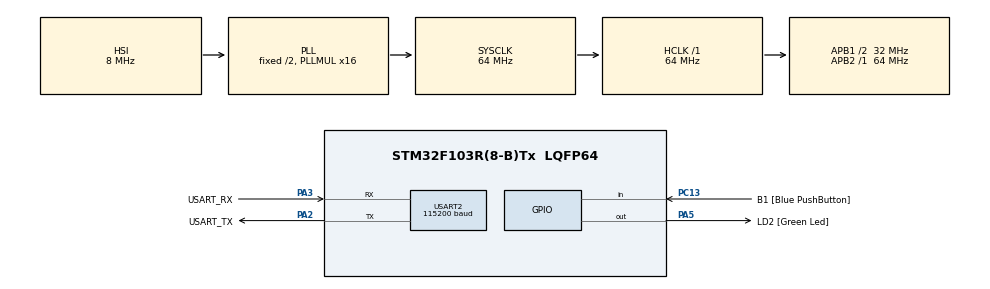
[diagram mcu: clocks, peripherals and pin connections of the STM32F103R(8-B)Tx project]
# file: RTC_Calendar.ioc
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Mcu.Family=STM32F1
Mcu.Name=STM32F103R(8-B)Tx
Mcu.Package=LQFP64
NVIC.PriorityGroup=NVIC_PRIORITYGROUP_4
NVIC.RTC_IRQn=true\:1\:0\:false\:false\:true\:true\:true\:true
PA13.GPIO_Label=TMS
PA13.Mode=Serial_Wire
PA13.Signal=SYS_JTMS-SWDIO
PA14.GPIO_Label=TCK
PA14.Mode=Serial_Wire
PA14.Signal=SYS_JTCK-SWCLK
PA2.GPIO_Label=USART_TX
PA2.GPIO_Mode=GPIO_MODE_AF_PP
PA2.GPIO_PuPd=GPIO_NOPULL
PA2.GPIO_Speed=GPIO_SPEED_FREQ_LOW
PA2.Mode=Asynchronous
PA2.Signal=USART2_TX
PA3.GPIO_Label=USART_RX
PA3.GPIO_PuPd=GPIO_NOPULL
PA3.GPIO_Speed=GPIO_SPEED_FREQ_LOW
PA3.Mode=Asynchronous
PA3.Signal=USART2_RX
PA5.GPIO_Label=LD2 [Green Led]
PA5.GPIO_ModeDefaultOutputPP=GPIO_MODE_OUTPUT_PP
PA5.GPIO_PuPd=GPIO_NOPULL
PA5.GPIO_Speed=GPIO_SPEED_FREQ_LOW
PA5.Signal=GPIO_Output
PB3.GPIO_Label=SWO
PB3.Signal=SYS_JTDO-TRACESWO
PC13-TAMPER-RTC.GPIO_Label=B1 [Blue PushButton]
PC13-TAMPER-RTC.GPIO_PuPd=GPIO_NOPULL
PC13-TAMPER-RTC.Signal=GPIO_Input
PC14-OSC32_IN.Mode=LSE-External-Oscillator
PC14-OSC32_IN.Signal=RCC_OSC32_IN
PC15-OSC32_OUT.Mode=LSE-External-Oscillator
PC15-OSC32_OUT.Signal=RCC_OSC32_OUT
PD0-OSC_IN.Mode=HSE-External-Clock-Source
PD0-OSC_IN.Signal=RCC_OSC_IN
PD1-OSC_OUT.Mode=HSE-External-Clock-Source
PD1-OSC_OUT.Signal=RCC_OSC_OUT
ProjectManager.HeapSize=0x200
ProjectManager.StackSize=0x400
ProjectManager.TargetToolchain=STM32CubeIDE
RCC.AHBFreq_Value=64000000
RCC.APB1CLKDivider=RCC_HCLK_DIV2
RCC.APB1Freq_Value=32000000
RCC.APB1TimFreq_Value=64000000
RCC.APB2Freq_Value=64000000
RCC.APB2TimFreq_Value=64000000
RCC.HCLKFreq_Value=64000000
RCC.PLLMUL=RCC_PLL_MUL16
RCC.RTCClockSelection=RCC_RTCCLKSOURCE_LSE
RCC.SYSCLKFreq_VALUE=64000000
RCC.SYSCLKSource=RCC_SYSCLKSOURCE_PLLCLK
RCC.USBFreq_Value=64000000
RTC.OutPut=RTC_OUTPUTSOURCE_NONE
USART2.BaudRate=115200
USART2.VirtualMode=VM_ASYNC
VP_RTC_VS_RTC_Activate.Mode=RTC_Enabled
board=NUCLEO-F103RB

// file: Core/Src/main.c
/* USER CODE BEGIN Header */
/**
 ******************************************************************************
 * @file           : main.c
 * @brief          : Main program body
 ******************************************************************************
 * @attention
 *
 * Copyright (c) 2026 STMicroelectronics.
 * All rights reserved.
 *
 * This software is licensed under terms that can be found in the LICENSE file
 * in the root directory of this software component.
 * If no LICENSE file comes with this software, it is provided AS-IS.
 *
 ******************************************************************************
 */
/**
 * 05_RTC_Calendar_HAL_c  —  [계층: HAL(RTC 초기화/1초 인터럽트) + 레지스터(카운터 접근)]  RTC 달력 시계
 *
 * STM32F1 RTC 의 특징
 *   F1 의 RTC 는 "달력" 하드웨어가 없다. 32비트 카운터(RTC->CNTH:CNTL)가 1초마다 1 증가할 뿐이다.
 *   -> 이 카운터를 Unix 시간(1970-01-01 00:00:00 부터 경과한 초)으로 쓰고, 날짜/시각은 소프트웨어로 계산한다.
 *   (이후 시리즈의 RTC 는 BCD 달력 하드웨어가 있지만 F1 은 없다. HAL 의 F1 달력 API 도 이 방식을 흉내 낸 것이다.)
 *
 * 동작
 *   - 전원 최초 인가 시 컴파일 시각(__DATE__ / __TIME__)으로 카운터를 설정하고 BKP DR1 에 "설정됨" 표시.
 *   - RTC 1초 인터럽트마다 카운터를 읽어 "YYYY-MM-DD HH:MM:SS (요일)" 을 UART(115200)로 출력, LD2 토글.
 *   - NRST(리셋) 버튼을 눌러도 시각이 이어진다 (백업 도메인이 유지되기 때문). 전원을 완전히 끄면 VBAT 이 없어 초기화된다.
 *   - B1(PC13) 을 누르면 컴파일 시각으로 다시 설정.
 *
 * 핵심 레지스터/비트
 *   RTC->CNTH:CNTL : 32비트 카운터.  읽기: CNTH-CNTL-CNTH 를 읽어 상위가 바뀌었으면 재시도(자리올림 경합 방지)
 *   쓰기 절차: RTC->CRL.RTOFF=1 대기 -> CRL.CNF=1(설정 모드) -> CNTH/CNTL 기록 -> CNF=0 -> RTOFF=1 대기
 *   RTC->CRH.SECIE : 1초 인터럽트 허용,  RTC->CRL.SECF : 1초 플래그
 *   PWR->CR.DBP=1 : 백업 도메인 쓰기 허용 (RTC/BKP 레지스터 접근에 필요)
 *   RCC->BDCR : LSEON/LSERDY, RTCSEL[9:8], RTCEN[15]
 *
 * ISR vs 콜백
 *   RTC_IRQHandler (stm32f1xx_it.c, 진짜 ISR) -> HAL_RTCEx_RTCIRQHandler()
 *     -> HAL_RTCEx_RTCEventCallback() (이 파일) : 1초 이벤트. 플래그만 세우고 출력은 main 에서.
 */
/* USER CODE END Header */
#include "main.h"

/* USER CODE BEGIN Includes */
#include <stdio.h>
#include <string.h>
#include <stdlib.h>
/* USER CODE END Includes */

/* USER CODE BEGIN PD */
#define BKP_MAGIC_REG RTC_BKP_DR1
#define BKP_MAGIC     0x32F2U

/* USER CODE END PD */

RTC_HandleTypeDef hrtc;
UART_HandleTypeDef huart2;

/* USER CODE BEGIN PV */
static volatile uint8_t second_flag;
/* USER CODE END PV */

void SystemClock_Config(void);
static void MX_GPIO_Init(void);
static void MX_RTC_Init(void);
static void MX_USART2_UART_Init(void);

/* USER CODE BEGIN 0 */
static void print(const char *s) { HAL_UART_Transmit(&huart2, (uint8_t *)s, (uint16_t)strlen(s), 100); }

/* ---- RTC 32비트 카운터 접근 (레지스터) ---- */
static uint32_t rtc_get_epoch(void)
{
    uint16_t hi, lo;
    do {
        hi = (uint16_t)RTC->CNTH;
        lo = (uint16_t)RTC->CNTL;
    } while (hi != (uint16_t)RTC->CNTH);              /* 읽는 사이 자리올림이 있었으면 재시도 */
    return ((uint32_t)hi << 16) | lo;
}

static void rtc_set_epoch(uint32_t v)
{
    while (!(RTC->CRL & RTC_CRL_RTOFF)) {}            /* 이전 쓰기 완료 대기 */
    RTC->CRL |= RTC_CRL_CNF;                          /* 설정 모드 진입 */
    RTC->CNTH = v >> 16;
    RTC->CNTL = v & 0xFFFFU;
    RTC->CRL &= ~RTC_CRL_CNF;                         /* 설정 모드 탈출 (이때 실제 기록됨) */
    while (!(RTC->CRL & RTC_CRL_RTOFF)) {}
}

/* ---- Unix 시간 <-> 날짜 변환 (그레고리력, 윤년 포함) ---- */
static void epoch_to_datetime(uint32_t e, int *y, int *mo, int *d, int *h, int *mi, int *s, int *wd)
{
    uint32_t days = e / 86400U, rem = e % 86400U;
    *h = (int)(rem / 3600U);  *mi = (int)((rem / 60U) % 60U);  *s = (int)(rem % 60U);
    *wd = (int)((days + 4U) % 7U);                    /* 1970-01-01 은 목요일(4). 0=일 */

    /* civil_from_days (H. Hinnant): 1970-01-01 기준 일수 -> 년/월/일 */
    int32_t z = (int32_t)days + 719468;
    int32_t era = z / 146097;
    int32_t doe = z - era * 146097;
    int32_t yoe = (doe - doe / 1460 + doe / 36524 - doe / 146096) / 365;
    int32_t yy = yoe + era * 400;
    int32_t doy = doe - (365 * yoe + yoe / 4 - yoe / 100);
    int32_t mp = (5 * doy + 2) / 153;
    *d = (int)(doy - (153 * mp + 2) / 5 + 1);
    *mo = (int)(mp < 10 ? mp + 3 : mp - 9);
    *y = (int)(yy + (*mo <= 2));
}

static uint32_t datetime_to_epoch(int y, int mo, int d, int h, int mi, int s)
{
    y -= (mo <= 2);
    int32_t era = y / 400;
    int32_t yoe = y - era * 400;
    int32_t doy = (153 * (mo + (mo > 2 ? -3 : 9)) + 2) / 5 + d - 1;
    int32_t doe = yoe * 365 + yoe / 4 - yoe / 100 + doy;
    int32_t days = era * 146097 + doe - 719468;
    return (uint32_t)days * 86400U + (uint32_t)(h * 3600 + mi * 60 + s);
}

/* __DATE__ = "Sep 21 2026", __TIME__ = "12:34:56" 를 파싱해 Unix 시간으로 */
static uint32_t compile_time_epoch(void)
{
    static const char mon[] = "JanFebMarAprMayJunJulAugSepOctNovDec";
    const char *dt = __DATE__;
    int mo = 1;
    for (int i = 0; i < 12; i++) if (strncmp(dt, &mon[i * 3], 3) == 0) { mo = i + 1; break; }
    int d = (dt[4] == ' ') ? (dt[5] - '0') : ((dt[4] - '0') * 10 + (dt[5] - '0'));
    int y = atoi(&dt[7]);
    const char *tm = __TIME__;
    int h = (tm[0] - '0') * 10 + (tm[1] - '0');
    int mi = (tm[3] - '0') * 10 + (tm[4] - '0');
    int s = (tm[6] - '0') * 10 + (tm[7] - '0');
    return datetime_to_epoch(y, mo, d, h, mi, s);
}

/* USER CODE END 0 */

int main(void)
{

  /* USER CODE BEGIN 1 */
  char msg[80];
  /* USER CODE END 1 */

  /* MCU Configuration--------------------------------------------------------*/

  /* Reset of all peripherals, Initializes the Flash interface and the Systick. */
  HAL_Init();

  /* Configure the system clock */
  SystemClock_Config();

  /* Initialize all configured peripherals */
  MX_GPIO_Init();
  MX_RTC_Init();
  MX_USART2_UART_Init();
  /* USER CODE BEGIN 2 */
  /* 백업 도메인 접근(PWR->CR.DBP)/BKP 클럭은 HAL_RTC_MspInit (stm32f1xx_hal_msp.c) 에서 이미 허용했다 */
  if (HAL_RTCEx_BKUPRead(&hrtc, BKP_MAGIC_REG) != BKP_MAGIC)     /* 최초 전원 인가 */
  {
    rtc_set_epoch(compile_time_epoch());
    HAL_RTCEx_BKUPWrite(&hrtc, BKP_MAGIC_REG, BKP_MAGIC);
    print("\r\nRTC set from compile time\r\n");
  }
  else
  {
    print("\r\nRTC already running (backup domain kept)\r\n");
  }

  HAL_RTCEx_SetSecond_IT(&hrtc);                     /* RTC->CRH.SECIE = 1 */

  static const char *const wdn[7] = { "Sun", "Mon", "Tue", "Wed", "Thu", "Fri", "Sat" };
  /* USER CODE END 2 */

  /* Infinite loop */
  while (1)
  {

    /* USER CODE BEGIN 3 */
    if (second_flag)
    {
      second_flag = 0;
      int y, mo, d, h, mi, s, wd;
      epoch_to_datetime(rtc_get_epoch(), &y, &mo, &d, &h, &mi, &s, &wd);
      int n = snprintf(msg, sizeof msg, "%04d-%02d-%02d %02d:%02d:%02d (%s)\r\n", y, mo, d, h, mi, s, wdn[wd]);
      HAL_UART_Transmit(&huart2, (uint8_t *)msg, (uint16_t)n, 100);
      HAL_GPIO_TogglePin(LD2_GPIO_Port, LD2_Pin);
    }

    if (HAL_GPIO_ReadPin(B1_GPIO_Port, B1_Pin) == GPIO_PIN_RESET)   /* B1 : 컴파일 시각으로 재설정 (GPIOC->IDR bit13) */
    {
      HAL_Delay(30);
      rtc_set_epoch(compile_time_epoch());
      while (HAL_GPIO_ReadPin(B1_GPIO_Port, B1_Pin) == GPIO_PIN_RESET) {}
    }
  }
  /* USER CODE END 3 */
}

void SystemClock_Config(void)
{
  RCC_OscInitTypeDef RCC_OscInitStruct = {0};
  RCC_ClkInitTypeDef RCC_ClkInitStruct = {0};

  /** Initializes the RCC Oscillators according to the specified parameters
  * in the RCC_OscInitTypeDef structure.
  */
  RCC_OscInitStruct.OscillatorType = RCC_OSCILLATORTYPE_HSI;
  RCC_OscInitStruct.HSIState = RCC_HSI_ON;
  RCC_OscInitStruct.HSICalibrationValue = RCC_HSICALIBRATION_DEFAULT;
  RCC_OscInitStruct.PLL.PLLState = RCC_PLL_ON;
  RCC_OscInitStruct.PLL.PLLSource = RCC_PLLSOURCE_HSI_DIV2;
  RCC_OscInitStruct.PLL.PLLMUL = RCC_PLL_MUL16;
  if (HAL_RCC_OscConfig(&RCC_OscInitStruct) != HAL_OK)
  {
    Error_Handler();
  }

  /** Initializes the CPU, AHB and APB buses clocks
  */
  RCC_ClkInitStruct.ClockType = RCC_CLOCKTYPE_HCLK|RCC_CLOCKTYPE_SYSCLK
                              |RCC_CLOCKTYPE_PCLK1|RCC_CLOCKTYPE_PCLK2;
  RCC_ClkInitStruct.SYSCLKSource = RCC_SYSCLKSOURCE_PLLCLK;
  RCC_ClkInitStruct.AHBCLKDivider = RCC_SYSCLK_DIV1;
  RCC_ClkInitStruct.APB1CLKDivider = RCC_HCLK_DIV2;
  RCC_ClkInitStruct.APB2CLKDivider = RCC_HCLK_DIV1;

  if (HAL_RCC_ClockConfig(&RCC_ClkInitStruct, FLASH_LATENCY_2) != HAL_OK)
  {
    Error_Handler();
  }
}

static void MX_RTC_Init(void)
{

  /** Initialize RTC Only
  */
  hrtc.Instance = RTC;
  hrtc.Init.AsynchPrediv = RTC_AUTO_1_SECOND;
  hrtc.Init.OutPut = RTC_OUTPUTSOURCE_NONE;
  if (HAL_RTC_Init(&hrtc) != HAL_OK)
  {
    Error_Handler();
  }

}

static void MX_USART2_UART_Init(void)
{

  huart2.Instance = USART2;
  huart2.Init.BaudRate = 115200;
  huart2.Init.WordLength = UART_WORDLENGTH_8B;
  huart2.Init.StopBits = UART_STOPBITS_1;
  huart2.Init.Parity = UART_PARITY_NONE;
  huart2.Init.Mode = UART_MODE_TX_RX;
  huart2.Init.HwFlowCtl = UART_HWCONTROL_NONE;
  huart2.Init.OverSampling = UART_OVERSAMPLING_16;
  if (HAL_UART_Init(&huart2) != HAL_OK)
  {
    Error_Handler();
  }

}

static void MX_GPIO_Init(void)
{
  GPIO_InitTypeDef GPIO_InitStruct = {0};

  /* GPIO Ports Clock Enable */
  __HAL_RCC_GPIOC_CLK_ENABLE();
  __HAL_RCC_GPIOD_CLK_ENABLE();
  __HAL_RCC_GPIOA_CLK_ENABLE();
  __HAL_RCC_GPIOB_CLK_ENABLE();

  /*Configure GPIO pin Output Level */
  HAL_GPIO_WritePin(LD2_GPIO_Port, LD2_Pin, GPIO_PIN_RESET);

  /*Configure GPIO pin : B1_Pin */
  GPIO_InitStruct.Pin = B1_Pin;
  GPIO_InitStruct.Mode = GPIO_MODE_INPUT;
  GPIO_InitStruct.Pull = GPIO_NOPULL;
  HAL_GPIO_Init(B1_GPIO_Port, &GPIO_InitStruct);

  /*Configure GPIO pin : LD2_Pin */
  GPIO_InitStruct.Pin = LD2_Pin;
  GPIO_InitStruct.Mode = GPIO_MODE_OUTPUT_PP;
  GPIO_InitStruct.Pull = GPIO_NOPULL;
  GPIO_InitStruct.Speed = GPIO_SPEED_FREQ_LOW;
  HAL_GPIO_Init(LD2_GPIO_Port, &GPIO_InitStruct);

}

/* USER CODE BEGIN 4 */
/* ------------------------------------------------------------------------- */
/* HAL 콜백 (ISR 아님): RTC 1초 이벤트 (SECF)                                    */
/* ------------------------------------------------------------------------- */
void HAL_RTCEx_RTCEventCallback(RTC_HandleTypeDef *hrtc_)
{
  (void)hrtc_;
  second_flag = 1;
}
/* USER CODE END 4 */

void Error_Handler(void)
{
  __disable_irq();
  while (1) {
  }
}
#ifdef USE_FULL_ASSERT
/**
  * @brief  Reports the name of the source file and the source line number
  *         where the assert_param error has occurred.
  * @param  file: pointer to the source file name
  * @param  line: assert_param error line source number
  * @retval None
  */
void assert_failed(uint8_t *file, uint32_t line)
{
  /* USER CODE BEGIN 6 */
  /* User can add his own implementation to report the file name and line
     number, ex: printf("Wrong parameters value: file %s on line %d\r\n", file,
     line) */
  /* USER CODE END 6 */
}
#endif /* USE_FULL_ASSERT */
